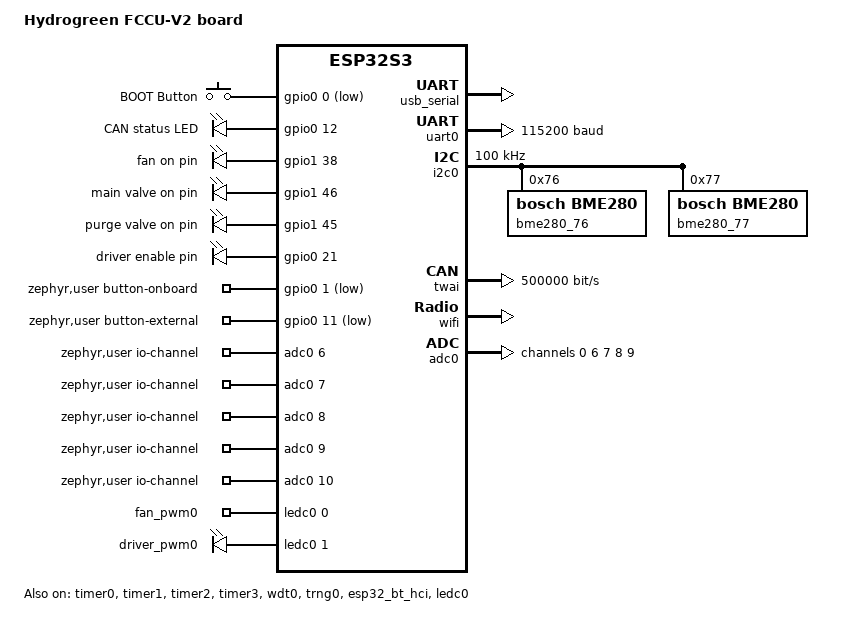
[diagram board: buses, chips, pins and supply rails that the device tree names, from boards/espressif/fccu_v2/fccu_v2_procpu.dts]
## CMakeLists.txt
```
cmake_minimum_required(VERSION 3.20.0)

list(APPEND BOARD_ROOT ${CMAKE_CURRENT_SOURCE_DIR})

find_package(Zephyr REQUIRED HINTS $ENV{ZEPHYR_BASE})

project(Inzynierka)

# Pliki źródłowe (.c), które będą kompilowane do pamięci procesora
target_sources(app PRIVATE
        src/main.c
        src/ui/system_status.c
        src/can/can_interface.c
        src/can/hydrogreen_can_definitions.c
)

# Foldery, w których kompilator ma szukać nagłówków (.h)
target_include_directories(app PRIVATE
        src
        src/ui
        src/can
)
```

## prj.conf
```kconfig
# --- MAGISTRALA CAN ---
CONFIG_CAN=y

# --- KONSOLA ---
CONFIG_SERIAL=y
CONFIG_CONSOLE=y
CONFIG_LOG=y
CONFIG_UART_CONSOLE=y

# --- OBSŁUGA UART/USB DLA ESP32 ---
#CONFIG_UART_ESP32=y
#CONFIG_UART_INTERRUPT_DRIVEN=y

# --- PRZETWORNIK ADC ---
CONFIG_ADC=y
```

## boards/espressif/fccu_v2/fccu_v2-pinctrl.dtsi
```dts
#include <zephyr/dt-bindings/pinctrl/esp-pinctrl-common.h>
#include <dt-bindings/pinctrl/esp32s3-pinctrl.h>
#include <zephyr/dt-bindings/pinctrl/esp32s3-gpio-sigmap.h>

&pinctrl {
	uart0_default: uart0_default {
		group1 {
			pinmux = <UART0_TX_GPIO43>;
			output-high;
		};
		group2 {
			pinmux = <UART0_RX_GPIO44>;
			bias-pull-up;
		};
	};

	uart1_default: uart1_default {
		group1 {
			pinmux = <UART1_TX_GPIO17>;
			output-high;
		};
		group2 {
			pinmux = <UART1_RX_GPIO18>;
			bias-pull-up;
		};
	};

	i2c0_default: i2c0_default {
		group1 {
			pinmux = <I2C0_SDA_GPIO35>,
					 <I2C0_SCL_GPIO34>;
			bias-pull-up;
			drive-open-drain;
			output-high;
		};
	};

	i2c1_default: i2c1_default {
		group1 {
			pinmux = <I2C1_SDA_GPIO4>,
					 <I2C1_SCL_GPIO5>;
			bias-pull-up;
			drive-open-drain;
			output-high;
		};
	};

	i2s0_default: i2s0_default {
		group1 {
			pinmux = <I2S0_MCLK_GPIO4>,
					 <I2S0_O_WS_GPIO5>,
					 <I2S0_O_BCK_GPIO6>,
					 <I2S0_O_SD_GPIO7>,
					 <I2S0_I_WS_GPIO15>,
					 <I2S0_I_BCK_GPIO16>;
			output-enable;
		};
		group2 {
			pinmux = <I2S0_I_SD_GPIO17>;
			input-enable;
		};
	};

	i2s1_default: i2s1_default {
		group1 {
			pinmux = <I2S1_MCLK_GPIO18>,
					 <I2S1_O_WS_GPIO8>,
					 <I2S1_O_BCK_GPIO3>,
					 <I2S1_O_SD_GPIO9>,
					 <I2S1_I_WS_GPIO10>,
					 <I2S1_I_BCK_GPIO11>;
			output-enable;
		};
		group2 {
			pinmux = <I2S1_I_SD_GPIO12>;
			input-enable;
		};
	};

	spim2_default: spim2_default {
		group1 {
			pinmux = <SPIM2_MISO_GPIO13>,
					 <SPIM2_SCLK_GPIO12>,
					 <SPIM2_CSEL_GPIO10>;
		};
		group2 {
			pinmux = <SPIM2_MOSI_GPIO11>;
			output-low;
		};
	};


	twai_default: twai_default {
		group1 {
			//Oryginalne fccu_v2
			pinmux = <TWAI_TX_GPIO39>;

			//esp32s3 super mini
//			pinmux = <TWAI_TX_GPIO4>;
			output-high; //Wymuszenie nadawania (wyjscie)
		};
		group2 {
			//Oryginalne fccu_v2
			pinmux = <TWAI_RX_GPIO40>;

			//esp32s3 super mini
//			pinmux = <TWAI_RX_GPIO5>;
			bias-pull-up; //Podciagniecie do wejscia
		};
	};

	//	mcpwm0_default: mcpwm0_default {
	//		group1 {
	//			pinmux = <MCPWM0_OUT0A_GPIO0>,
	//					 <MCPWM0_OUT0B_GPIO2>,
	//					 <MCPWM0_OUT1A_GPIO4>;
	//			output-enable;
	//		};
	//		group2 {
	//			pinmux = <MCPWM0_CAP0_GPIO5>;
	//		};
	//	};

	ledc0_default: ledc0_default {
		group1 {
			pinmux = <LEDC_CH0_GPIO37>,
					 <LEDC_CH1_GPIO17>,
					 <LEDC_CH2_GPIO4>;
			output-enable;
		};
	};
};
```

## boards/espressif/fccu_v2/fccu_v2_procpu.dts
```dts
/dts-v1/;

#include <espressif/esp32s3/esp32s3_wroom_n8.dtsi>
#include "fccu_v2-pinctrl.dtsi"
#include <espressif/partitions_0x0_amp.dtsi>


/ {
	model = "Hydrogreen FCCU-V2 board";
	compatible = "hydrogreen,fccu_v2";

	aliases {
		i2c-0 = &i2c0;
		watchdog0 = &wdt0;
	//	uart-0 = &uart0;
		can = &twai;
		fan-pin = &fan0;
		fan-pwm = &fan_pwm0;
		fan-tacho = &fan_tacho0;
		main-valve-pin = &main_valve0;
		purge-valve-pin = &purge_valve0;
		adc-1 = &adc0;
		can-status-led = &can_led0;
		counter0 = &counter0;
		counter1 = &counter1;
		counter2 = &counter2;
		counter3 = &counter3;
		driver-enable = &driver_enable0;
		driver-pwm = &driver_pwm0;
	};

	chosen {
		zephyr,sram = &sram1;
//		zephyr,console = &uart0;
//		zephyr,shell-uart = &uart0;
		zephyr,console = &usb_serial;
		zephyr,shell-uart = &usb_serial;
		zephyr,flash = &flash0;
		zephyr,code-partition = &slot0_partition;
		zephyr,bt-hci = &esp32_bt_hci;
		zephyr,canbus = &twai;
	};

	buttons {
		compatible = "gpio-keys";

		button0: button_0 {
			gpios = <&gpio0 0 (GPIO_PULL_UP | GPIO_ACTIVE_LOW)>;
			label = "BOOT Button";
		};
	};

	status_leds {
		compatible = "gpio-leds";

		can_led0: can_led_0 {
			gpios = <&gpio0 12 GPIO_ACTIVE_HIGH>; //oryginalny z pliku
//			gpios = <&gpio1 16 GPIO_ACTIVE_HIGH>; //esp32s3 super mini
			label = "CAN status LED";
		};
	};

	gpio_outputs {
		compatible = "gpio-leds";

		fan0: fan_0 {
			gpios = <&gpio1 38 GPIO_ACTIVE_HIGH>;
			label = "fan on pin";
		};
		main_valve0: main_valve_0 {
			gpios = <&gpio1 46 GPIO_ACTIVE_HIGH>;
			label = "main valve on pin";
		};
		purge_valve0: purge_valve_0 {
			gpios = <&gpio1 45 GPIO_ACTIVE_HIGH>;
			label = "purge valve on pin";
		};
		driver_enable0: driver_enable_0 {
			gpios = <&gpio0 21 GPIO_ACTIVE_HIGH>;
			label = "driver enable pin";
		};
	};

	gpio_inputs {
		fan_tacho0: fan_tacho_0 {
			gpios = <&gpio1 36 GPIO_ACTIVE_HIGH>;
			label = "fan tacho";
		};
	};

	zephyr,user {
		io-channels = <&adc0 6>, <&adc0 7>, <&adc0 8>, <&adc0 9>, <&adc0 10>;
		button-onboard-gpios  = <&gpio0 1  (GPIO_ACTIVE_LOW | GPIO_PULL_UP)>;
		button-external-gpios = <&gpio0 11 (GPIO_ACTIVE_LOW | GPIO_PULL_UP)>;
	};

	pwm_leds {
		compatible = "pwm-leds";

		fan_pwm0: fan_pwm_0 {
			pwms = <&ledc0 0 40000 0>;
		};
		driver_pwm0: driver_pwm_0 {
			pwms = <&ledc0 1 40000 0>;
		};
	};
};

&usb_serial {
	status = "okay";
};

&uart0 {
	status = "okay";
	current-speed = <115200>;
	pinctrl-0 = <&uart0_default>;
	pinctrl-names = "default";
};

&gpio0 {
	status = "okay";
};

&gpio1 {
	status = "okay";
};

&i2c0 {
	clock-frequency = <I2C_BITRATE_STANDARD>;
	pinctrl-0 = <&i2c0_default>;
	pinctrl-names = "default";
	status = "okay";

	bme280_76: bme280@76 {
		compatible = "bosch,bme280";
		reg = <0x76>;
		status = "okay";
	};

	bme280_77: bme280@77 {
		compatible = "bosch,bme280";
		reg = <0x77>;
		status = "okay";
	};

	ads1015_48: ads1015@48 {
		compatible = "ti,ads1015";
		reg = <0x48>;
		label = "ADS1015_48";
		#io-channel-cells = <1>;
		#address-cells = <1>;
		#size-cells = <0>;
		status = "disabled";
	};

	ads1015_49: ads1015@49 {
		compatible = "ti,ads1015";
		reg = <0x49>;
		label = "ADS1015_49";
		#io-channel-cells = <1>;
		#address-cells = <1>;
		#size-cells = <0>;
		status = "disabled";
	};
};

&i2c1 {
	clock-frequency = <I2C_BITRATE_STANDARD>;
	pinctrl-0 = <&i2c1_default>;
	pinctrl-names = "default";
	status = "disabled";
};

&i2s0 {
	pinctrl-0 = <&i2s0_default>;
	pinctrl-names = "default";
	status = "disabled";
};

&i2s1 {
	pinctrl-0 = <&i2s1_default>;
	pinctrl-names = "default";
	status = "disabled";
};

&spi2 {
	status = "disabled";
};

&twai {
	pinctrl-0 = <&twai_default>;
	pinctrl-names = "default";
	bitrate = <500000>;
	status = "okay";
};

&timer0 {
	status = "okay";
	counter0: counter {
		status = "okay";
	};
};

&timer1 {
	status = "okay";
	counter1: counter {
		status = "okay";
	};
};

&timer2 {
	status = "okay";
	counter2: counter {
		status = "okay";
	};
};

&timer3 {
	status = "okay";
	counter3: counter {
		status = "okay";
	};
};

&wdt0 {
	status = "okay";
};

&trng0 {
	status = "okay";
};

&esp32_bt_hci {
	status = "okay";
};

&wifi {
	status = "okay";
};

&adc0 {
	status = "okay";
	unit = <1>;
	#io-channel-cells = <1>;
	#address-cells = <1>;
	#size-cells = <0>;
	channel-count = <10>;

	channel@0 {
		reg = <0>;
		zephyr,gain = "ADC_GAIN_1_4";
		zephyr,reference = "ADC_REF_INTERNAL";
		zephyr,acquisition-time = <ADC_ACQ_TIME_DEFAULT>;
		zephyr,resolution = <12>;
	};

	channel@6 {
		reg = <6>;
		zephyr,gain = "ADC_GAIN_1_4";
		zephyr,reference = "ADC_REF_INTERNAL";
		zephyr,acquisition-time = <ADC_ACQ_TIME_DEFAULT>;
		zephyr,resolution = <12>;
	};
	channel@7 {
		reg = <7>;
		zephyr,gain = "ADC_GAIN_1_4";
		zephyr,reference = "ADC_REF_INTERNAL";
		zephyr,acquisition-time = <ADC_ACQ_TIME_DEFAULT>;
		zephyr,resolution = <12>;
	};
	channel@8 {
		reg = <8>;
		zephyr,gain = "ADC_GAIN_1_4";
		zephyr,reference = "ADC_REF_INTERNAL";
		zephyr,acquisition-time = <ADC_ACQ_TIME_DEFAULT>;
		zephyr,resolution = <12>;
	};
	channel@9 {
		reg = <9>;
		zephyr,gain = "ADC_GAIN_1_4";
		zephyr,reference = "ADC_REF_INTERNAL";
		zephyr,acquisition-time = <ADC_ACQ_TIME_DEFAULT>;
		zephyr,resolution = <12>;
	};
};

&ledc0 {
	status = "okay";
	pinctrl-0 = <&ledc0_default>;
	pinctrl-names = "default";
	#address-cells = <1>;
	#size-cells = <0>;

	channel@0 {
		reg = <0x0>;
		timer = <0>;
	};
	channel@1 {
		reg = <0x1>;
		timer = <1>;
	};
};
```

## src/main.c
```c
#include <zephyr/kernel.h>
#include <zephyr/device.h>
#include <zephyr/drivers/can.h>

// [DOCELOWO: Dodanie nagłówków sprzętowych]
// #include <zephyr/drivers/gpio.h>
// #include <zephyr/drivers/adc.h>
// #include <zephyr/drivers/pwm.h>

#include "hydrogreen_can_definitions.h"
#include "system_status.h"

/* ======================================================================= */
/*                         ZMIENNE STANÓW SYSTEMU                          */
/* ======================================================================= */
typedef enum {
    STATE_INIT     = 0,
    STATE_STARTING = 1,
    STATE_RUNNING  = 2,
    STATE_STOPPED  = 3
} fccu_state_t;

volatile fccu_state_t current_state = STATE_INIT;

// Zmienne sterujące elementami wykonawczymi
volatile uint8_t logic_main_valve = 0;
volatile uint8_t logic_purge_valve = 0;
volatile uint8_t logic_fan_state = 0;

// Nastawy konfiguracyjne
volatile uint8_t  set_fan_mode = 0;
volatile uint16_t set_purge_interval_s = 0;
volatile uint16_t set_p_gain = 0;
volatile uint16_t set_i_gain = 0;
volatile uint16_t set_d_gain = 0;

// [DO PODMIANY: Symulator temperatury - do usunięcia w finalnej wersji]
volatile uint8_t mock_temperature = 25;
// [DOCELOWO: Zmienna przechowująca rzeczywisty odczyt z ADC]
// volatile uint8_t real_temperature = 0;

volatile uint8_t logic_fan_duty = 0;

const struct device *can_dev = DEVICE_DT_GET(DT_CHOSEN(zephyr_canbus));

// [DOCELOWO: Pobranie struktury urządzeń z Device Tree]
// static const struct gpio_dt_spec main_valve_pin = GPIO_DT_SPEC_GET(DT_NODELABEL(main_valve), gpios);
// static const struct gpio_dt_spec purge_valve_pin = GPIO_DT_SPEC_GET(DT_NODELABEL(purge_valve), gpios);
// static const struct pwm_dt_spec fan_pwm = PWM_DT_SPEC_GET(DT_NODELABEL(fan_pwm));
// (Oraz analogicznie konfiguracja kanału ADC)

/* ======================================================================= */
/*                              CAN RX CALLBACKI                           */
/* ======================================================================= */

void rx_system_enable_cb(const struct device *dev, struct can_frame *frame, void *user_data) {
    struct hydrogreen_can_definitions_fccu_system_enable_t rx;
    if (hydrogreen_can_definitions_fccu_system_enable_unpack(&rx, frame->data, frame->dlc) == 0) {
        // opcja 2: zgodnie ze sztuka ale bedzie sprawiac problemy
        //if (rx.cmd_system_enable == 1 && (current_state == STATE_INIT)
        if (rx.cmd_system_enable == 1 && (current_state == STATE_INIT || current_state == STATE_STOPPED)) {
            current_state = STATE_STARTING;
            printk("[CAN RX] System Enable = 1 -> Przejscie do STARTING\n");
        } else if (rx.cmd_system_enable == 0) {
            current_state = STATE_STOPPED;
            printk("[CAN RX] System Enable = 0 -> Przejscie do STOPPED\n");
        }
    }
}

void rx_main_valve_cb(const struct device *dev, struct can_frame *frame, void *user_data) {
    struct hydrogreen_can_definitions_fccu_main_valve_command_t rx;
    if (hydrogreen_can_definitions_fccu_main_valve_command_unpack(&rx, frame->data, frame->dlc) == 0) {
        logic_main_valve = rx.cmd_main_valve;
        printk("[CAN RX] Main Valve Command: %d\n", logic_main_valve);

        // [DOCELOWO: Bezpośrednie wysterowanie pinu po komendzie CAN, jeśli system pozwala]
        // if (current_state == STATE_RUNNING) {
        //     gpio_pin_set_dt(&main_valve_pin, logic_main_valve);
        // }
    }
}

void rx_manual_purge_cb(const struct device *dev, struct can_frame *frame, void *user_data) {
    struct hydrogreen_can_definitions_fccu_manual_purge_t rx;
    if (hydrogreen_can_definitions_fccu_manual_purge_unpack(&rx, frame->data, frame->dlc) == 0) {
        logic_purge_valve = rx.cmd_manual_purge;
        printk("[CAN RX] Manual Purge Command: %d\n", logic_purge_valve);

        // [DOCELOWO: Ręczne wysterowanie pinu zaworu zrzutowego]
        // if (current_state == STATE_RUNNING) {
        //     gpio_pin_set_dt(&purge_valve_pin, logic_purge_valve);
        // }
    }
}

void rx_fan_cb(const struct device *dev, struct can_frame *frame, void *user_data) {
    struct hydrogreen_can_definitions_fccu_fan_t rx;
    if (hydrogreen_can_definitions_fccu_fan_unpack(&rx, frame->data, frame->dlc) == 0) {
        logic_fan_state = rx.cmd_fan_on;
        printk("[CAN RX] Fan Command: %d\n", logic_fan_state);

        // [DOCELOWO: Ręczne ustawienie PWM przy komendzie dla trybu MANUAL (set_fan_mode == 1)]
        // if (set_fan_mode == 1 && current_state == STATE_RUNNING) {
        //     logic_fan_duty = logic_fan_state ? 50 : 0; // Przykładowo 50% lub inna wartość domyślna
        //     pwm_set_pulse_dt(&fan_pwm, (fan_pwm.period * logic_fan_duty) / 100);
        // }
    }
}

void rx_settings_cb(const struct device *dev, struct can_frame *frame, void *user_data) {
    struct hydrogreen_can_definitions_fccu_settings_t rx;
    if (hydrogreen_can_definitions_fccu_settings_unpack(&rx, frame->data, frame->dlc) == 0) {
        set_fan_mode = rx.fan_mode;
        set_purge_interval_s = rx.purge_interval_s;
        set_p_gain = rx.p_gain;
        set_i_gain = rx.i_gain;
        set_d_gain = rx.d_gain;
        printk("[CAN RX] Nowe nastawy -> FanMode: %d, Purge: %ds, PID: %d/%d/%d\n",
               set_fan_mode, set_purge_interval_s, set_p_gain, set_i_gain, set_d_gain);
    }
}

void add_ext_rx_filter(uint32_t ext_id, can_rx_callback_t cb) {
    struct can_filter filter = {
            .id = ext_id,
            .mask = CAN_EXT_ID_MASK,
            .flags = CAN_FILTER_IDE
    };
    can_add_rx_filter(can_dev, cb, NULL, &filter);
}

/* ======================================================================= */
/*                                PĘTLA GŁÓWNA                             */
/* ======================================================================= */

int main(void) {
    k_sleep(K_MSEC(2000));
    printk("\n--- START SYSTEMU FCCU (Etap 1: Maszyna Stanow + LED) ---\n");

    // Inicjalizacja Twojego modułu LED (dioda zacznie migać błędem, póki CAN nie ruszy)
    init_system_status();

    // [DOCELOWO: Inicjalizacja peryferiów sprzętowych na starcie]
    // gpio_pin_configure_dt(&main_valve_pin, GPIO_OUTPUT_INACTIVE);
    // gpio_pin_configure_dt(&purge_valve_pin, GPIO_OUTPUT_INACTIVE);
    // adc_channel_setup_dt(...);

    if (!device_is_ready(can_dev)) {
        printk("Blad: Urzadzenie CAN nie gotowe!\n");
        return -1;
    }

    add_ext_rx_filter(HYDROGREEN_CAN_DEFINITIONS_FCCU_SYSTEM_ENABLE_FRAME_ID, &rx_system_enable_cb);
    add_ext_rx_filter(HYDROGREEN_CAN_DEFINITIONS_FCCU_MAIN_VALVE_COMMAND_FRAME_ID, &rx_main_valve_cb);
    add_ext_rx_filter(HYDROGREEN_CAN_DEFINITIONS_FCCU_MANUAL_PURGE_FRAME_ID, &rx_manual_purge_cb);
    add_ext_rx_filter(HYDROGREEN_CAN_DEFINITIONS_FCCU_FAN_FRAME_ID, &rx_fan_cb);
    add_ext_rx_filter(HYDROGREEN_CAN_DEFINITIONS_FCCU_SETTINGS_FRAME_ID, &rx_settings_cb);

    can_set_mode(can_dev, CAN_MODE_NORMAL);
    can_start(can_dev);

    uint32_t loop_counter = 0;

    while (1) {
        // --- 1. LOGIKA MASZYNY STANÓW ---
        switch (current_state) {
            case STATE_INIT:
                break;
            case STATE_STARTING:
                // [DO PODMIANY: Obecnie przejście jest bezwarunkowe]
                // [DOCELOWO: W tym miejscu zrobisz odczyt z czujników (napięcie stosu/butli) przed startem]
                // if (adc_read_voltage() > MIN_VOLTAGE) {
                current_state = STATE_RUNNING;
                printk("[STATE] Przejscie ze STARTING do RUNNING\n");
                // } else {
                //     current_state = STATE_STOPPED;
                //     printk("[ERR] Niskie napiecie, start przerwany!\n");
                // }
                break;
            case STATE_RUNNING:
                // Automatyczny zawór wydmuchowy (Purge)
                if (set_purge_interval_s > 0) {
                    static uint32_t purge_timer = 0;
                    static bool is_purging = false;

                    purge_timer++;

                    // Główna pętla wykonuje się co 100ms (mnożnik x10 dla sekund)
                    if (!is_purging && (purge_timer >= (set_purge_interval_s * 10))) {
                        logic_purge_valve = 1;
                        is_purging = true;
                        purge_timer = 0;
                        printk("[LOGIKA] Auto-Purge: Otwarcie zaworu\n");
                        // [DOCELOWO: Wysterowanie pinu na stan WYSOKI]
                        // gpio_pin_set_dt(&purge_valve_pin, 1);
                    }
                        // Czas trwania samego wydmuchu (np. 500ms = 5 cykli)
                    else if (is_purging && (purge_timer >= 5)) {
                        logic_purge_valve = 0;
                        is_purging = false;
                        purge_timer = 0;
                        printk("[LOGIKA] Auto-Purge: Zamkniecie zaworu\n");
                        // [DOCELOWO: Wysterowanie pinu na stan NISKI]
                        // gpio_pin_set_dt(&purge_valve_pin, 0);
                    }
                }
                //test, [DOCELOWO: Caly blok do usunięcia]
                //===========================================
                // --- 2. Symulacja wzrostu temperatury ---
                static uint16_t temp_sim_timer = 0;
                temp_sim_timer++;
                if (temp_sim_timer >= 20) { // Co 2 sekundy (20 * 100ms)
                    mock_temperature++;
                    if (mock_temperature > 45) {
                        mock_temperature = 25; // Reset po osiągnięciu 45 stopni
                    }
                    temp_sim_timer = 0;
                    printk("[MOCK] Aktualna temperatura: %d C\n", mock_temperature);
                }
                //===========================================
                // [DOCELOWO: zastąpić go fizycznym odczytem]
                // adc_read(adc_dev, &sequence);
                // real_temperature = calculate_temp_from_raw_adc(sample_buffer[0]);
                // (W poniższych blokach case 2 i case 3 zmienić  "mock_temperature" na "real_temperature")

                // Algorytm sterowania wentylatorem
                switch (set_fan_mode) {
                    case 0: // OFF
                        logic_fan_state = 0;
                        logic_fan_duty = 0;
                        break;
                    case 1: // MANUAL
                        // Stan zmieniany bezpośrednio ramką 0x513 (Manual Fan Command)
                        // Obsługiwane wyżej w rx_fan_cb
                        break;
                    case 2: // LINEAR_TEMP (Termostat)
                        // Miejsce na przyszłą logikę odczytu temperatury z przetwornika ADC

                        //test
                        //===================================
                        if (mock_temperature >= 35) {
                            if (logic_fan_state == 0) printk("[LOGIKA] Fan ON (Temp >= 35C)\n");
                            logic_fan_state = 1;
                        } else if (mock_temperature <= 30) {
                            if (logic_fan_state == 1) printk("[LOGIKA] Fan OFF (Temp <= 30C)\n");
                            logic_fan_state = 0;
                        }
                        //===================================
                        break;
                    case 3: // PID
                        // Miejsce na dyskretną pętlę PID korzystającą z set_p_gain, set_i_gain, set_d_gain
                        // Obliczenia uchybu między wartością zadaną a odczytem temperatury

                        //test
                        //=================================================
                    {
                        static int32_t integral = 0;
                        static int32_t previous_error = 0;
                        int32_t setpoint = 30; // Utrzymujemy 30 stopni

                        int32_t error = mock_temperature - setpoint;

                        // Zbieramy uchyb
                        integral += error;

                        // Obliczamy poszczególne człony
                        int32_t p_term = set_p_gain * error;
                        int32_t i_term = set_i_gain * integral;
                        int32_t d_term = set_d_gain * (error - previous_error);

                        previous_error = error;
                        int32_t output = p_term + i_term + d_term;

                        // Skuteczny Anti-Windup dla urządzenia chłodzącego
                        if (output >= 100) {
                            output = 100;
                            // Jeśli wysterowanie osiągnęło 100%, zabraniamy dalszego rośnięcia całki
                            if (error > 0) {
                                integral -= error;
                            }
                        } else if (error <= 0 || output <= 0) {
                            // Jeśli temperatura spadła do zadanej (lub niżej),
                            // odcinamy wiatrak i CZYŚCIMY pamięć całki
                            output = 0;
                            integral = 0;
                        }

                        logic_fan_duty = (uint8_t)output;
                        logic_fan_state = (logic_fan_duty > 0) ? 1 : 0;
                        break;
                    }
                        //=================================================
                        // [DOCELOWO: Wysłanie obliczonego wypełnienia PWM na pin]
                        // Jeśli jesteśmy w trybie Auto (2 lub 3), aktualizujemy sygnał sprzętowy:
                        // if (set_fan_mode == 2 || set_fan_mode == 3) {
                        //     pwm_set_pulse_dt(&fan_pwm, (fan_pwm.period * logic_fan_duty) / 100);
                        // }
                }
                break;
            case STATE_STOPPED:
                logic_main_valve = 0;
                logic_purge_valve = 0;
                logic_fan_state = 0;

                // [DOCELOWO: Awaryjne wyłączenie wszystkich pinów sprzętowych]
                // gpio_pin_set_dt(&main_valve_pin, 0);
                // gpio_pin_set_dt(&purge_valve_pin, 0);
                // pwm_set_pulse_dt(&fan_pwm, 0);
                break;
        }

        // --- 2. NADAWANIE RAMEK CAN (TX) ---
        struct hydrogreen_can_definitions_fccu_state_t tx_state = {
                .state = current_state,
                .main_valve = logic_main_valve,
                .purge_valve = logic_purge_valve,
                .fan_state = logic_fan_state,
                .fan_duty = logic_fan_duty
        };

        uint8_t payload_state[8] = {0};
        int len_state = hydrogreen_can_definitions_fccu_state_pack(payload_state, &tx_state, 8);

        struct can_frame frame_state = {
                .id = HYDROGREEN_CAN_DEFINITIONS_FCCU_STATE_FRAME_ID,
                .flags = CAN_FRAME_IDE,
                .dlc = len_state
        };
        memcpy(frame_state.data, payload_state, len_state);

        int ret = can_send(can_dev, &frame_state, K_MSEC(10), NULL, NULL);
        if (ret != 0) {
            // Jeżeli ramka nie przeszła na szynę - zgłoś błąd komunikacji (Dioda LED ERROR)
            set_system_status(STATUS_CAN_ERROR);

            enum can_state bus_state;
            struct can_bus_err_cnt err_cnt;
            can_get_state(can_dev, &bus_state, &err_cnt);

            if (bus_state == CAN_STATE_BUS_OFF) {
                printk("[CAN ERR] BUS-OFF! Oczekiwanie na automatyczny reset magistrali przez Zephyr...\n");
            }
        } else {
            // Jeżeli wysyłanie przeszło pomyślnie - ustaw status LED OK
            set_system_status(STATUS_CAN_OK);
        }

        if (loop_counter % 50 == 0) {
            struct hydrogreen_can_definitions_fccu_version_t tx_version = {
                    .firmware_major = 1,
                    .firmware_minor = 0,
                    .firmware_patch = 0,
                    .build_id = 123456,
                    .vehicle_type = 2,
                    .fuelcell_type = 1
            };

            uint8_t payload_ver[8] = {0};
            int len_ver = hydrogreen_can_definitions_fccu_version_pack(payload_ver, &tx_version, 8);

            struct can_frame frame_version = {
                    .id = HYDROGREEN_CAN_DEFINITIONS_FCCU_VERSION_FRAME_ID,
                    .flags = CAN_FRAME_IDE,
                    .dlc = len_ver
            };
            memcpy(frame_version.data, payload_ver, len_ver);
            can_send(can_dev, &frame_version, K_NO_WAIT, NULL, NULL);
        }

        loop_counter++;
        k_sleep(K_MSEC(100));
    }
    return 0;
}
```
